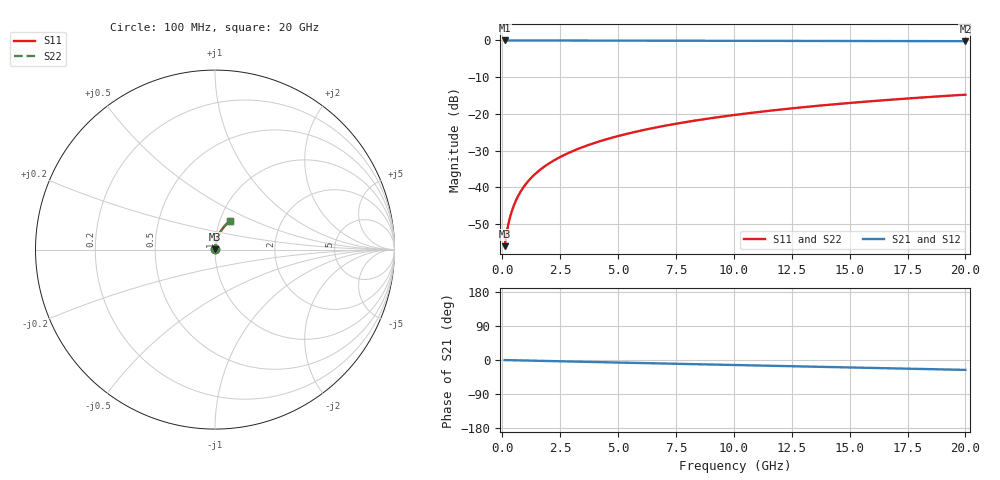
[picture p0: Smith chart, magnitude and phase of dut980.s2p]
! Touchstone file exported from HFSS 2026.1.0
!  File:  C:/ffzhzh/LocalFiles/Ansys_Project_Files/temp_train_BSMRDL_980_1783172753_43440.aedt
!  Generated:  09:47:03 PM Jul  4, 2026
!  Design:  BSMRDL
!  Project:  temp_train_BSMRDL_980_1783172753_43440
! Variables:
!  h_bsmrdl = 5.6um
!  h_ox = 20um
!  h_rdl = 5um
!  h_sub = 80um
!  h_tmrdl = 5um
!  h_tsv = 80um
!  h_via = 3um
!  l_bsmrdl = 396.66um
!  l_sub = 796.66um
!  l_tmrdl = 200um
!  m_sub = 200um
!  pitch = 49.76um
!  r_tsv = 6um
!  s_tmrdl = 10um
!  w_bsmrdl = 29.91um
!  w_sub = 500um
!  w_tmrdl = 12um
!  x_tsv_center1 = 206um
!  x_tsv_center2 = 632.57um
!  x_tsv_center3 = 844.57um
!  x_tsv_center4 = 1271.14um
!  x_tsv_center5 = 1483.14um
!  x_tsv_center6 = 1909.71um
# GHz S MA R 50.000000
! Terminal data exported
! Port[1] = BSM_RDL1_1_T1
! Port[2] = BSM_RDL1_1_T2
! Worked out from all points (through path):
!   200 points, 100 MHz to 20 GHz, reference 50 ohm
!   highest |S21| = -0.01 dB at 100 MHz (marker M1); lowest = -0.2 dB at 20 GHz (marker M2)
!   group delay of S21, straight-line fit = 3.61 ps
!   lowest |S11| = -56.0 dB at 100 MHz (marker M3), VSWR 1.00, Z = 50.1 + j0.119 ohm
!   |S11| at or under -10 dB: start of sweep to end of sweep
!   |S22| runs from -56.0 to -14.8 dB; largest |S21 - S12| = 5e-15
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0.1  0.001581 48.5  0.999 -0.1  0.999 -0.1  0.001581 48.5
! Gamma 0 0 0 0
! Port Impedance 50 0 50 0
0.2  0.00254 66.5  0.9988 -0.3  0.9988 -0.3  0.002543 66.5
0.3  0.003577 73.9  0.9987 -0.4  0.9987 -0.4  0.003582 73.8
0.4  0.004628 77.5  0.9987 -0.6  0.9987 -0.6  0.004636 77.4
0.5  0.005682 79.4  0.9986 -0.7  0.9986 -0.7  0.005692 79.4
0.7  0.007787 81.3  0.9985 -1.0  0.9985 -1.0  0.007797 81.3
0.8  0.008833 81.7  0.9985 -1.1  0.9985 -1.1  0.008844 81.7
1  0.01091 82.1  0.9984 -1.4  0.9984 -1.4  0.01092 82.1
1.2  0.01296 82.3  0.9983 -1.6  0.9983 -1.6  0.01297 82.3
1.4  0.015 82.3  0.9982 -1.9  0.9982 -1.9  0.015 82.3
1.7  0.018 82.2  0.998 -2.3  0.998 -2.3  0.01801 82.1
2  0.02098 82.0  0.9979 -2.7  0.9979 -2.7  0.02098 82.0
2.7  0.02782 81.5  0.9973 -3.7  0.9973 -3.7  0.02782 81.5
3.5  0.03556 80.9  0.9967 -4.7  0.9967 -4.7  0.03556 80.9
4.2  0.04227 80.2  0.9961 -5.7  0.9961 -5.7  0.04227 80.2
5  0.0499 79.4  0.9954 -6.7  0.9954 -6.7  0.0499 79.5
6.8  0.06687 77.5  0.9938 -9.1  0.9938 -9.1  0.06687 77.5
8.3  0.08081 75.8  0.9923 -11.0  0.9923 -11.0  0.08081 75.8
10.1  0.09731 73.7  0.9904 -13.4  0.9904 -13.4  0.09731 73.7
13.4  0.1268 69.8  0.9863 -17.7  0.9863 -17.7  0.1268 69.8
16.7  0.1553 65.8  0.9816 -21.9  0.9816 -21.9  0.1553 65.8
20  0.1825 61.8  0.9764 -26.1  0.9764 -26.1  0.1825 61.8
